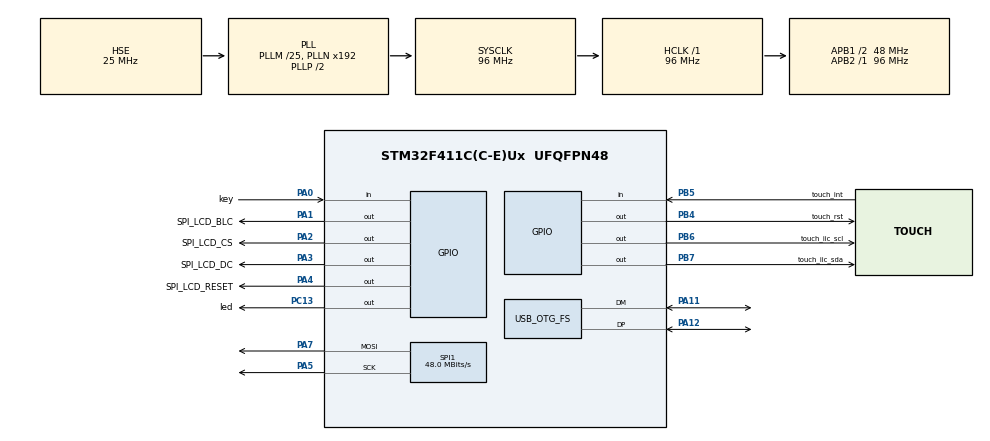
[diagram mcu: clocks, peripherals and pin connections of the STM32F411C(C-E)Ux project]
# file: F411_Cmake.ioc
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Dma.Request0=SPI1_TX
Dma.SPI1_TX.0.Direction=DMA_MEMORY_TO_PERIPH
Dma.SPI1_TX.0.FIFOMode=DMA_FIFOMODE_DISABLE
Dma.SPI1_TX.0.Instance=DMA2_Stream2
Dma.SPI1_TX.0.MemDataAlignment=DMA_MDATAALIGN_BYTE
Dma.SPI1_TX.0.MemInc=DMA_MINC_ENABLE
Dma.SPI1_TX.0.Mode=DMA_NORMAL
Dma.SPI1_TX.0.PeriphDataAlignment=DMA_PDATAALIGN_BYTE
Dma.SPI1_TX.0.PeriphInc=DMA_PINC_DISABLE
Dma.SPI1_TX.0.Priority=DMA_PRIORITY_LOW
Mcu.Family=STM32F4
Mcu.Name=STM32F411C(C-E)Ux
Mcu.Package=UFQFPN48
NVIC.DMA2_Stream2_IRQn=true\:0\:0\:true\:false\:true\:false\:true\:true
NVIC.OTG_FS_IRQn=true\:0\:0\:false\:false\:true\:false\:true\:true
NVIC.PriorityGroup=NVIC_PRIORITYGROUP_2
NVIC.SPI1_IRQn=true\:3\:2\:true\:false\:true\:true\:true\:true
PA0-WKUP.GPIO_Label=key
PA0-WKUP.GPIO_PuPd=GPIO_PULLUP
PA0-WKUP.Signal=GPIO_Input
PA1.GPIO_Label=SPI_LCD_BLC
PA1.GPIO_PuPd=GPIO_PULLUP
PA1.GPIO_Speed=GPIO_SPEED_FREQ_VERY_HIGH
PA1.PinState=GPIO_PIN_SET
PA1.Signal=GPIO_Output
PA11.Mode=Device_Only
PA11.Signal=USB_OTG_FS_DM
PA12.Mode=Device_Only
PA12.Signal=USB_OTG_FS_DP
PA13.Mode=Serial_Wire
PA13.Signal=SYS_JTMS-SWDIO
PA14.Mode=Serial_Wire
PA14.Signal=SYS_JTCK-SWCLK
PA2.GPIO_Label=SPI_LCD_CS
PA2.GPIO_PuPd=GPIO_PULLUP
PA2.GPIO_Speed=GPIO_SPEED_FREQ_VERY_HIGH
PA2.PinState=GPIO_PIN_SET
PA2.Signal=GPIO_Output
PA3.GPIO_Label=SPI_LCD_DC
PA3.GPIO_PuPd=GPIO_PULLUP
PA3.GPIO_Speed=GPIO_SPEED_FREQ_VERY_HIGH
PA3.PinState=GPIO_PIN_SET
PA3.Signal=GPIO_Output
PA4.GPIO_Label=SPI_LCD_RESET
PA4.GPIO_PuPd=GPIO_PULLUP
PA4.GPIO_Speed=GPIO_SPEED_FREQ_VERY_HIGH
PA4.PinState=GPIO_PIN_SET
PA4.Signal=GPIO_Output
PA5.GPIO_PuPd=GPIO_NOPULL
PA5.Mode=TX_Only_Simplex_Unidirect_Master
PA5.Signal=SPI1_SCK
PA7.GPIO_PuPd=GPIO_NOPULL
PA7.Mode=TX_Only_Simplex_Unidirect_Master
PA7.Signal=SPI1_MOSI
PB4.GPIO_Label=touch_rst
PB4.GPIO_PuPd=GPIO_PULLUP
PB4.GPIO_Speed=GPIO_SPEED_FREQ_VERY_HIGH
PB4.PinState=GPIO_PIN_SET
PB4.Signal=GPIO_Output
PB5.GPIO_Label=touch_int
PB5.Signal=GPIO_Input
PB6.GPIO_Label=touch_iic_scl
PB6.GPIO_PuPd=GPIO_PULLUP
PB6.GPIO_Speed=GPIO_SPEED_FREQ_VERY_HIGH
PB6.PinState=GPIO_PIN_SET
PB6.Signal=GPIO_Output
PB7.GPIO_Label=touch_iic_sda
PB7.GPIO_PuPd=GPIO_PULLUP
PB7.GPIO_Speed=GPIO_SPEED_FREQ_VERY_HIGH
PB7.PinState=GPIO_PIN_SET
PB7.Signal=GPIO_Output
PC13-ANTI_TAMP.GPIO_Label=led
PC13-ANTI_TAMP.GPIO_PuPd=GPIO_PULLUP
PC13-ANTI_TAMP.PinState=GPIO_PIN_SET
PC13-ANTI_TAMP.Signal=GPIO_Output
PH0\ -\ OSC_IN.Mode=HSE-External-Oscillator
PH0\ -\ OSC_IN.Signal=RCC_OSC_IN
PH1\ -\ OSC_OUT.Mode=HSE-External-Oscillator
PH1\ -\ OSC_OUT.Signal=RCC_OSC_OUT
ProjectManager.HeapSize=0x200
ProjectManager.StackSize=0x400
ProjectManager.TargetToolchain=CMake
RCC.48MHZClocksFreq_Value=48000000
RCC.AHBFreq_Value=96000000
RCC.APB1CLKDivider=RCC_HCLK_DIV2
RCC.APB1Freq_Value=48000000
RCC.APB1TimFreq_Value=96000000
RCC.APB2Freq_Value=96000000
RCC.APB2TimFreq_Value=96000000
RCC.CortexFreq_Value=96000000
RCC.HCLKFreq_Value=96000000
RCC.HSE_VALUE=25000000
RCC.HSI_VALUE=16000000
RCC.LSE_VALUE=32768
RCC.PLLM=25
RCC.SYSCLKFreq_VALUE=96000000
RCC.SYSCLKSource=RCC_SYSCLKSOURCE_PLLCLK
RCC.VCOOutputFreq_Value=192000000
SPI1.CalculateBaudRate=48.0 MBits/s
SPI1.Direction=SPI_DIRECTION_2LINES
SPI1.Mode=SPI_MODE_MASTER
SPI1.VirtualType=VM_MASTER
USB_DEVICE.CLASS_NAME_FS=CDC
USB_DEVICE.MANUFACTURER_STRING=Niganma
USB_DEVICE.PRODUCT_STRING_CDC_FS=Niganma
USB_DEVICE.VirtualMode=Cdc
USB_DEVICE.VirtualModeFS=Cdc_FS
USB_OTG_FS.VirtualMode=Device_Only
VP_USB_DEVICE_VS_USB_DEVICE_CDC_FS.Mode=CDC_FS
board=custom

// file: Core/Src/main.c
/* USER CODE BEGIN Header */
/**
  ******************************************************************************
  * @file           : main.c
  * @brief          : Main program body
  ******************************************************************************
  * @attention
  *
  * Copyright (c) 2026 STMicroelectronics.
  * All rights reserved.
  *
  * This software is licensed under terms that can be found in the LICENSE file
  * in the root directory of this software component.
  * If no LICENSE file comes with this software, it is provided AS-IS.
  *
  ******************************************************************************
  */
/* USER CODE END Header */
#include "main.h"
#include "dma.h"
#include "spi.h"
#include "usb_device.h"
#include "gpio.h"

/* USER CODE BEGIN Includes */
#include "led.h"
#include "led_fsm.h"
#include "system.h"
#include "usbd_cdc_if.h"
#include "key.h"
#include "key_fsm.h"
#include "module_auto_init.h"
#include "malloc.h"
#include <stdio.h>
#include "spi_lcd.h"
#include "touch.h"
#include "stmflash.h"
#include "iap.h"
#include "Ymodem.h"
/* USER CODE END Includes */

void SystemClock_Config(void);

int main(void)
{

  /* MCU Configuration--------------------------------------------------------*/

  /* Reset of all peripherals, Initializes the Flash interface and the Systick. */
  HAL_Init();

  /* Configure the system clock */
  SystemClock_Config();

  /* Initialize all configured peripherals */
  MX_GPIO_Init();
  MX_DMA_Init();
  MX_USB_DEVICE_Init();
  MX_SPI1_Init();
  /* USER CODE BEGIN 2 */
  HAL_Delay(500);
  module_auto_init_all();
  /* USER CODE END 2 */

  /* Infinite loop */
  while (1)
  {

    /* USER CODE BEGIN 3 */
    // 获取系统计数器
    uint32_t tick = HAL_GetTick();

    // 运行按键状态机
    KEY_FSM_Run(&key_fsm,tick);

    // 运行LED状态机
    LED_FSM_Run(&led1_fsm, tick);

    // YMODEM解析
    uint16_t size = RingBuff_GetSize(&usbRingBuff);
    if (size == 133 || size == 1)
    {
      uint8_t data[133];
      volatile uint16_t len = RingBuff_ReadBytes(&usbRingBuff, data, size);

      if(HAL_GetTick() % 2 == 0 && data[0] != 0)
      {
        // data[67] = 0x44;
      }

      YMODEM_Parse(&ymodem_fsm, data, &len);
    }
  }
  /* USER CODE END 3 */
}

void SystemClock_Config(void)
{
  RCC_OscInitTypeDef RCC_OscInitStruct = {0};
  RCC_ClkInitTypeDef RCC_ClkInitStruct = {0};

  /** Configure the main internal regulator output voltage
  */
  __HAL_RCC_PWR_CLK_ENABLE();
  __HAL_PWR_VOLTAGESCALING_CONFIG(PWR_REGULATOR_VOLTAGE_SCALE1);

  /** Initializes the RCC Oscillators according to the specified parameters
  * in the RCC_OscInitTypeDef structure.
  */
  RCC_OscInitStruct.OscillatorType = RCC_OSCILLATORTYPE_HSE;
  RCC_OscInitStruct.HSEState = RCC_HSE_ON;
  RCC_OscInitStruct.PLL.PLLState = RCC_PLL_ON;
  RCC_OscInitStruct.PLL.PLLSource = RCC_PLLSOURCE_HSE;
  RCC_OscInitStruct.PLL.PLLM = 25;
  RCC_OscInitStruct.PLL.PLLN = 192;
  RCC_OscInitStruct.PLL.PLLP = RCC_PLLP_DIV2;
  RCC_OscInitStruct.PLL.PLLQ = 4;
  if (HAL_RCC_OscConfig(&RCC_OscInitStruct) != HAL_OK)
  {
    Error_Handler();
  }

  /** Initializes the CPU, AHB and APB buses clocks
  */
  RCC_ClkInitStruct.ClockType = RCC_CLOCKTYPE_HCLK|RCC_CLOCKTYPE_SYSCLK
                              |RCC_CLOCKTYPE_PCLK1|RCC_CLOCKTYPE_PCLK2;
  RCC_ClkInitStruct.SYSCLKSource = RCC_SYSCLKSOURCE_PLLCLK;
  RCC_ClkInitStruct.AHBCLKDivider = RCC_SYSCLK_DIV1;
  RCC_ClkInitStruct.APB1CLKDivider = RCC_HCLK_DIV2;
  RCC_ClkInitStruct.APB2CLKDivider = RCC_HCLK_DIV1;

  if (HAL_RCC_ClockConfig(&RCC_ClkInitStruct, FLASH_LATENCY_3) != HAL_OK)
  {
    Error_Handler();
  }
}

void Error_Handler(void)
{
  __disable_irq();
  while (1)
  {
  }
}
